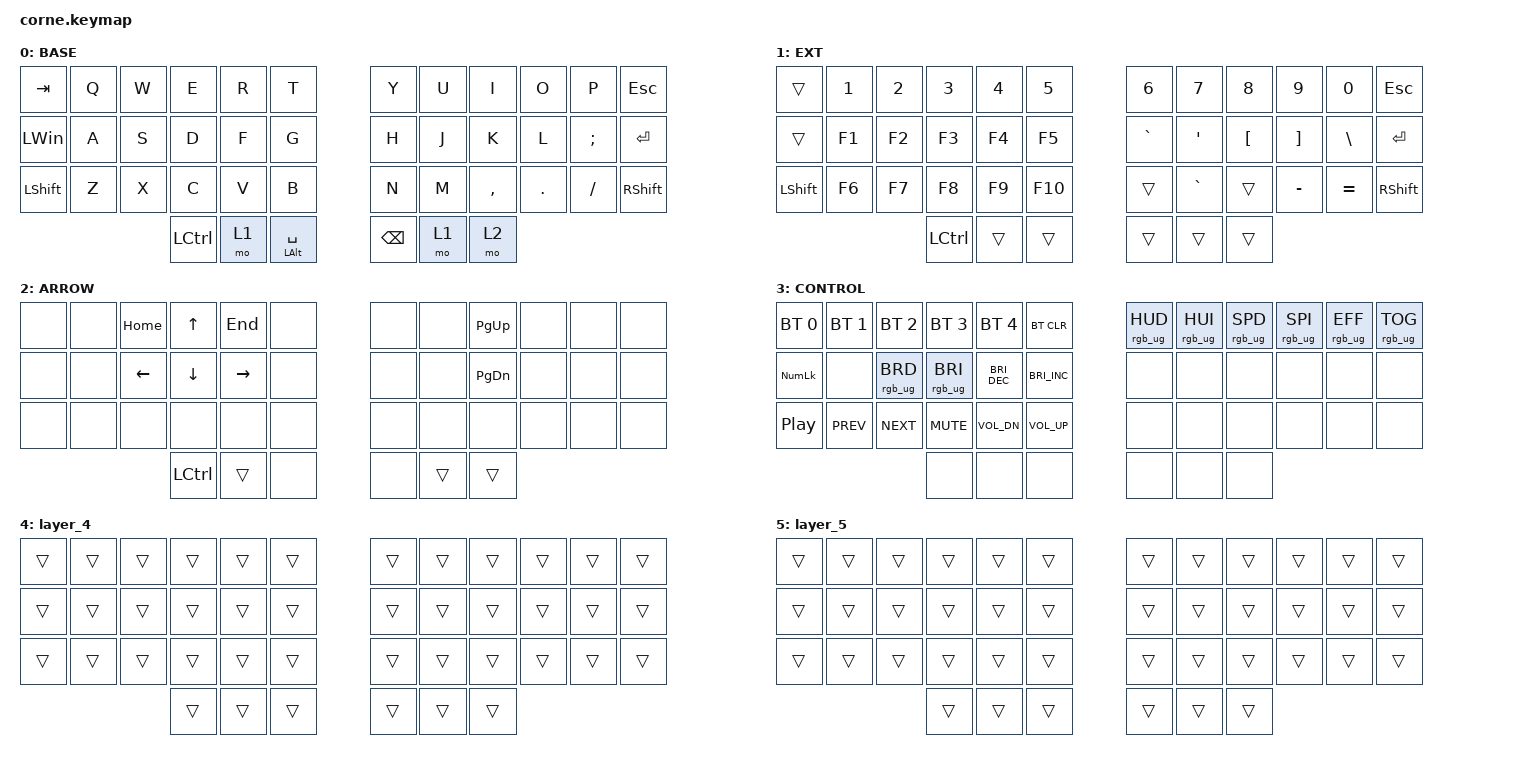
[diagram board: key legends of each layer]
#include <behaviors.dtsi>
#include <dt-bindings/zmk/bt.h>
#include <dt-bindings/zmk/keys.h>
#include <dt-bindings/zmk/rgb.h>

#define DEFAULT  0
#define LOWER    1
#define RAISE    2
#define CONTROL   3

// dt-formatter: indent = "  "
// dt-formatter: reindentMultilineIntegerCells = "dedent"

&led_strip {
  chain-length = <27>;

  // 21 backlight + 6 glowlight
};

/ {
  combos {
    compatible = "zmk,combos";

    Screenshot {
      bindings = <&kp LS(LG(N4))>;
      key-positions = <3 4>;
    };

    Fullzoom_Window {
      bindings = <&kp LS(LC(LG(ENTER)))>;
      key-positions = <1 2>;
    };

    Switch_Window {
      bindings = <&kp LG(GRAVE)>;
      key-positions = <25 26>;
    };

    Switch_Input_Source {
      bindings = <&kp LG(SPACE)>;
      key-positions = <6 7>;
    };

    Space {
      bindings = <&kp SPACE>;
      key-positions = <28 29>;
    };

    To_Layer1 {
      bindings = <&to 0>;
      key-positions = <0 1>;
    };

    To_Layer2 {
      bindings = <&to 1>;
      key-positions = <0 2>;
    };

    To_Layer3 {
      bindings = <&to 2>;
      key-positions = <0 3>;
    };

    To_Layer4 {
      bindings = <&to 3>;
      key-positions = <0 4>;
    };

    Enter-r {
      bindings = <&kp ENTER>;
      key-positions = <19 20>;
    };

    QBackTab {
      bindings = <&kp LS(TAB)>;
      key-positions = <15 16>;
    };

    Qspace {
      bindings = <&kp SPACE>;
      key-positions = <18 19>;
    };
  };

  keymap {
    compatible = "zmk,keymap";

    base_layer {
      label = "BASE";
      bindings = <
&kp TAB         &kp Q  &kp W  &kp E      &kp R  &kp T                 &kp Y          &kp U  &kp I      &kp O    &kp P     &kp ESCAPE
&kp LEFT_WIN    &kp A  &kp S  &kp D      &kp F  &kp G                 &kp H          &kp J  &kp K      &kp L    &kp SEMI  &kp ENTER
&kp LEFT_SHIFT  &kp Z  &kp X  &kp C      &kp V  &kp B                 &kp N          &kp M  &kp COMMA  &kp DOT  &kp FSLH  &kp RIGHT_SHIFT
                              &kp LCTRL  &mo 1  &mt LEFT_ALT SPACE    &kp BACKSPACE  &mo 1  &mo 2
      >;
    };

    extended_layer {
      label = "EXT";
      bindings = <
&trans     &kp N1  &kp N2  &kp N3     &kp N4  &kp N5     &kp N6     &kp N7     &kp N8    &kp N9     &kp N0     &kp ESCAPE
&trans     &kp F1  &kp F2  &kp F3     &kp F4  &kp F5     &kp GRAVE  &kp APOS   &kp LBKT  &kp RBKT   &kp BSLH   &kp ENTER
&kp LSHFT  &kp F6  &kp F7  &kp F8     &kp F9  &kp F10    &trans     &kp GRAVE  &trans    &kp MINUS  &kp EQUAL  &kp RSHFT
                           &kp LCTRL  &trans  &trans     &trans     &trans     &trans
      >;
    };

    arrow_layer {
      label = "ARROW";
      bindings = <
&none  &none  &kp HOME  &kp UP     &kp END    &none    &none  &none   &kp PAGE_UP    &none  &none  &none
&none  &none  &kp LEFT  &kp DOWN   &kp RIGHT  &none    &none  &none   &kp PAGE_DOWN  &none  &none  &none
&none  &none  &none     &none      &none      &none    &none  &none   &none          &none  &none  &none
                        &kp LCTRL  &trans     &none    &none  &trans  &trans
      >;
    };

    control_layer {
      label = "CONTROL";
      bindings = <
&bt BT_SEL 0      &bt BT_SEL 1  &bt BT_SEL 2     &bt BT_SEL 3     &bt BT_SEL 4          &bt BT_CLR              &rgb_ug RGB_HUD  &rgb_ug RGB_HUI  &rgb_ug RGB_SPD  &rgb_ug RGB_SPI  &rgb_ug RGB_EFF  &rgb_ug RGB_TOG
&kp KP_NUMLOCK    &none         &rgb_ug RGB_BRD  &rgb_ug RGB_BRI  &kp C_BRIGHTNESS_DEC  &kp C_BRIGHTNESS_INC    &none            &none            &none            &none            &none            &none
&kp C_PLAY_PAUSE  &kp C_PREV    &kp C_NEXT       &kp K_MUTE       &kp C_VOL_DN          &kp C_VOL_UP            &none            &none            &none            &none            &none            &none
                                                 &none            &none                 &none                   &none            &none            &none
      >;
    };

    layer_4 {
      bindings = <
&trans  &trans  &trans  &trans  &trans  &trans    &trans  &trans  &trans  &trans  &trans  &trans
&trans  &trans  &trans  &trans  &trans  &trans    &trans  &trans  &trans  &trans  &trans  &trans
&trans  &trans  &trans  &trans  &trans  &trans    &trans  &trans  &trans  &trans  &trans  &trans
                        &trans  &trans  &trans    &trans  &trans  &trans
      >;
    };

    layer_5 {
      bindings = <
&trans  &trans  &trans  &trans  &trans  &trans    &trans  &trans  &trans  &trans  &trans  &trans
&trans  &trans  &trans  &trans  &trans  &trans    &trans  &trans  &trans  &trans  &trans  &trans
&trans  &trans  &trans  &trans  &trans  &trans    &trans  &trans  &trans  &trans  &trans  &trans
                        &trans  &trans  &trans    &trans  &trans  &trans
      >;
    };
  };
};
